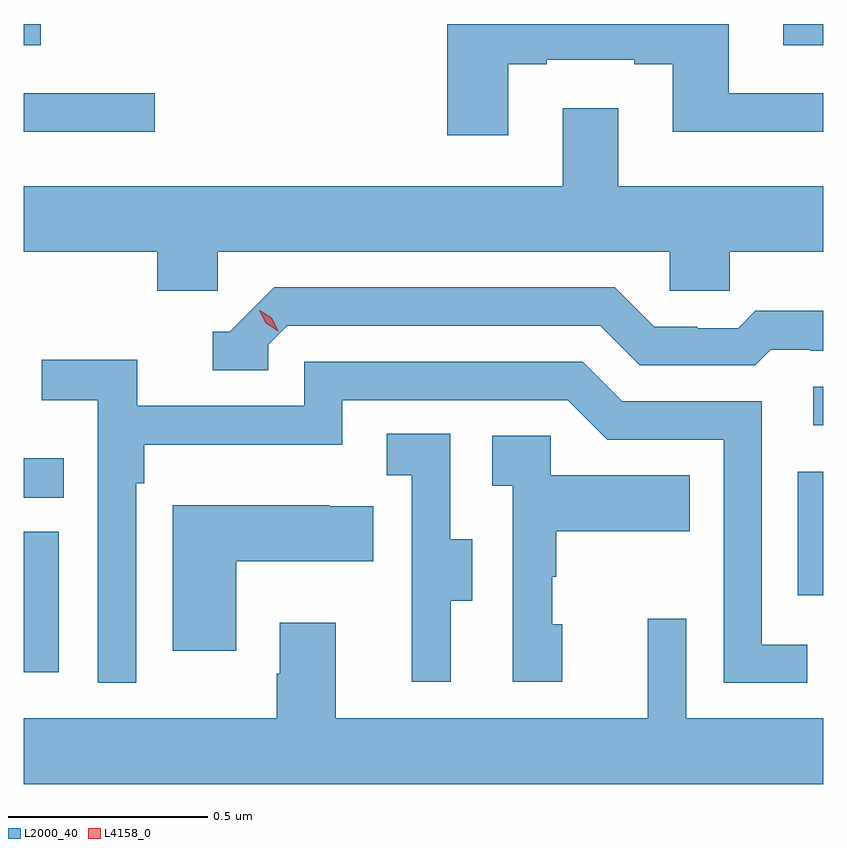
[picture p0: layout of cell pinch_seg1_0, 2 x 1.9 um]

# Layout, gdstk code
import gdstk
lib = gdstk.Library(unit=1e-6, precision=1e-09)
def R(c, l, rs):  # rectangles x0, y0, x1, y1
    for r in rs: c.add(gdstk.rectangle(r[:2], r[2:], *l))
def P(c, l, *ps):  # polygons
    for p in ps: c.add(gdstk.Polygon(p, *l))
L2000_40 = (2000, 40)
L4158_0 = (4158, 0)

pinch_seg1_0 = lib.new_cell('pinch_seg1_0')
R(pinch_seg1_0, L2000_40, [(1090.933,579.984,1091.02,580.335), (1092.87,580.176,1092.933,580.486), (1090.933,580.42,1091.033,580.519), (1092.909,580.602,1092.933,580.698), (1090.933,581.336,1091.26,581.433), (1090.933,581.553,1090.975,581.606), (1092.833,581.553,1092.933,581.606)])
P(pinch_seg1_0, L2000_40, [(1092.145,581.505),(1092.241,581.505),(1092.241,581.517),(1092.461,581.517),(1092.461,581.505),(1092.557,581.505),(1092.557,581.336),(1092.933,581.336),(1092.933,581.433),(1092.697,581.433),(1092.697,581.606),(1091.993,581.606),(1091.993,581.328),(1092.145,581.328)],
  [(1091.418,581.036),(1092.549,581.036),(1092.549,580.938),(1092.699,580.938),(1092.699,581.036),(1092.933,581.036),(1092.933,581.2),(1092.421,581.2),(1092.421,581.395),(1092.281,581.395),(1092.281,581.2),(1090.933,581.2),(1090.933,581.036),(1091.267,581.036),(1091.267,580.938),(1091.418,580.938)],
  [(1091.544,580.803),(1091.592,580.851),(1092.375,580.851),(1092.474,580.752),(1092.763,580.752),(1092.802,580.791),(1092.901,580.791),(1092.901,580.788),(1092.933,580.788),(1092.933,580.888),(1092.763,580.888),(1092.721,580.845),(1092.618,580.845),(1092.618,580.848),(1092.511,580.848),(1092.412,580.947),(1091.559,580.947),(1091.448,580.836),(1091.405,580.836),(1091.405,580.74),(1091.544,580.74)],
  [(1091.214,580.457),(1091.234,580.457),(1091.234,580.553),(1091.73,580.553),(1091.73,580.665),(1092.294,580.665),(1092.393,580.566),(1092.684,580.566),(1092.684,579.957),(1092.893,579.957),(1092.893,580.053),(1092.78,580.053),(1092.78,580.662),(1092.43,580.662),(1092.331,580.761),(1091.634,580.761),(1091.634,580.65),(1091.216,580.65),(1091.216,580.766),(1090.977,580.766),(1090.977,580.664),(1091.118,580.664),(1091.118,579.957),(1091.214,579.957)],
  [(1092.001,580.162),(1092.055,580.162),(1092.055,580.317),(1092,580.317),(1092,580.58),(1091.841,580.58),(1091.841,580.477),(1091.904,580.477),(1091.904,580.173),(1091.903,580.173),(1091.903,579.96),(1092.001,579.96)],
  [(1092.28,580.104),(1092.255,580.104),(1092.255,580.223),(1092.265,580.223),(1092.265,580.337),(1092.599,580.337),(1092.599,580.477),(1092.252,580.477),(1092.252,580.575),(1092.105,580.575),(1092.105,580.451),(1092.156,580.451),(1092.156,579.96),(1092.28,579.96)],
  [(1091.464,580.262),(1091.807,580.262),(1091.807,580.399),(1091.699,580.399),(1091.699,580.402),(1091.306,580.402),(1091.306,580.038),(1091.464,580.038)],
  [(1091.573,580.108),(1091.573,579.98),(1091.566,579.98),(1091.566,579.868),(1090.933,579.868),(1090.933,579.704),(1092.933,579.704),(1092.933,579.868),(1092.591,579.868),(1092.591,580.117),(1092.494,580.117),(1092.494,579.868),(1091.713,579.868),(1091.713,580.108)])
P(pinch_seg1_0, L4158_0, [(1091.569,580.837),(1091.538,580.857),(1091.522,580.89),(1091.522,580.89),(1091.523,580.89),(1091.553,580.871),(1091.569,580.838),(1091.569,580.837)])

lib.write_gds('pinch_seg1_0.gds')
